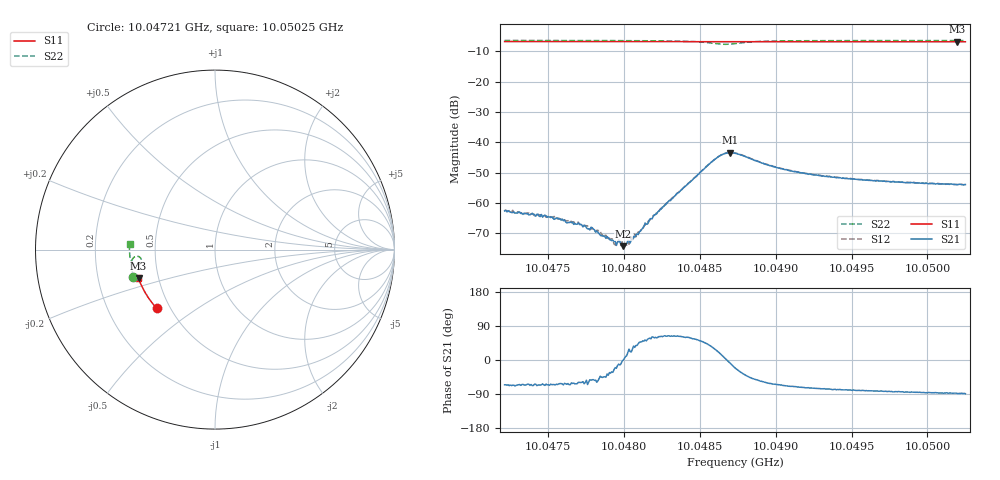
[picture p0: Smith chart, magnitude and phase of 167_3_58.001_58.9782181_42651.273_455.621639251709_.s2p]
#  HZ  S  RI  R  50.00
! Rohde & Schwarz Vector Network Analyzer
! Rohde-Schwarz,ZNB20-2Port,1311601062101988,3.16
! Created: UTC 3/21/2024, 12:57:47 AM
! freq[Hz]  re:S11  im:S11  re:S21  im:S21  re:S12  im:S12  re:S22  im:S22
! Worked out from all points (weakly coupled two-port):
!   401 points, 10.04721 GHz to 10.05025 GHz, reference 50 ohm
!   highest |S21| = -43.38 dB at 10.0487 GHz (marker M1); lowest = -74.2 dB at 10.048 GHz (marker M2)
!   lowest |S11| = -6.8 dB at 10.0502 GHz (marker M3), VSWR 2.67, Z = 19.3 - j7.82 ohm
!   |S11| at or under -10 dB: nowhere
!   |S22| runs from -7.7 to -6.4 dB; largest |S21 - S12| = 0.00046
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1.0047214e10  -0.3235 -0.3275  0.000306 -0.000675  0.000351 -0.000683  -0.4544 -0.1523
1.0047526e10  -0.3375 -0.3122  0.00025 -0.000536  0.00029 -0.000508  -0.46 -0.1311
1.0047685e10  -0.3444 -0.3041  0.000205 -0.000398  0.000244 -0.000407  -0.4627 -0.1195
1.0047723e10  -0.346 -0.3021  0.000224 -0.000374  0.000247 -0.000359  -0.463 -0.1168
1.0047799e10  -0.349 -0.2983  0.00023 -0.000292  0.000231 -0.000282  -0.4642 -0.1112
1.0047837e10  -0.3506 -0.2962  0.000204 -0.000238  0.000222 -0.000244  -0.4646 -0.1082
1.0047943e10  -0.355 -0.2906  0.000221 -8.07e-05  0.000192 -7.13e-05  -0.4657 -0.0999
1.0047973e10  -0.3563 -0.2892  0.000229 -5.42e-05  0.000219 -7.04e-06  -0.466 -0.0975
1.0047996e10  -0.3571 -0.288  0.000194 -7.88e-07  0.000196 4.25e-05  -0.4662 -0.0956
1.0048027e10  -0.3583 -0.2863  0.000227 8.33e-05  0.000212 7.77e-05  -0.4663 -0.0931
1.0048057e10  -0.3596 -0.2846  0.000217 0.000121  0.000209 0.000159  -0.4665 -0.0905
1.0048095e10  -0.3611 -0.2826  0.000222 0.000204  0.000233 0.000238  -0.4666 -0.0872
1.0048231e10  -0.3663 -0.2754  0.00035 0.000655  0.000321 0.000668  -0.4665 -0.0744
1.0048588e10  -0.3791 -0.2554  0.00419 0.00264  0.00407 0.00292  -0.429 -0.0376
1.0048649e10  -0.381 -0.2522  0.00617 0.00125  0.00614 0.0016  -0.4123 -0.0503
1.0048702e10  -0.3828 -0.2496  0.00669 -0.00111  0.00677 -0.000749  -0.4113 -0.0706
1.0048732e10  -0.3837 -0.2479  0.00621 -0.00236  0.00638 -0.00198  -0.4179 -0.0797
1.0049021e10  -0.3937 -0.2317  0.00158 -0.00342  0.00179 -0.00336  -0.466 -0.0648
1.0049241e10  -0.4007 -0.2188  0.000801 -0.00284  0.000962 -0.0028  -0.473 -0.0434
1.0049749e10  -0.415 -0.1885  0.000289 -0.00223  0.000425 -0.00225  -0.4768 -0.00344
1.0050197e10  -0.4255 -0.1609  5.68e-05 -0.002  0.000171 -0.002  -0.476 0.0281
1.005025e10  -0.4268 -0.1578  4.17e-05 -0.00202  0.000141 -0.00202  -0.4758 0.0319
